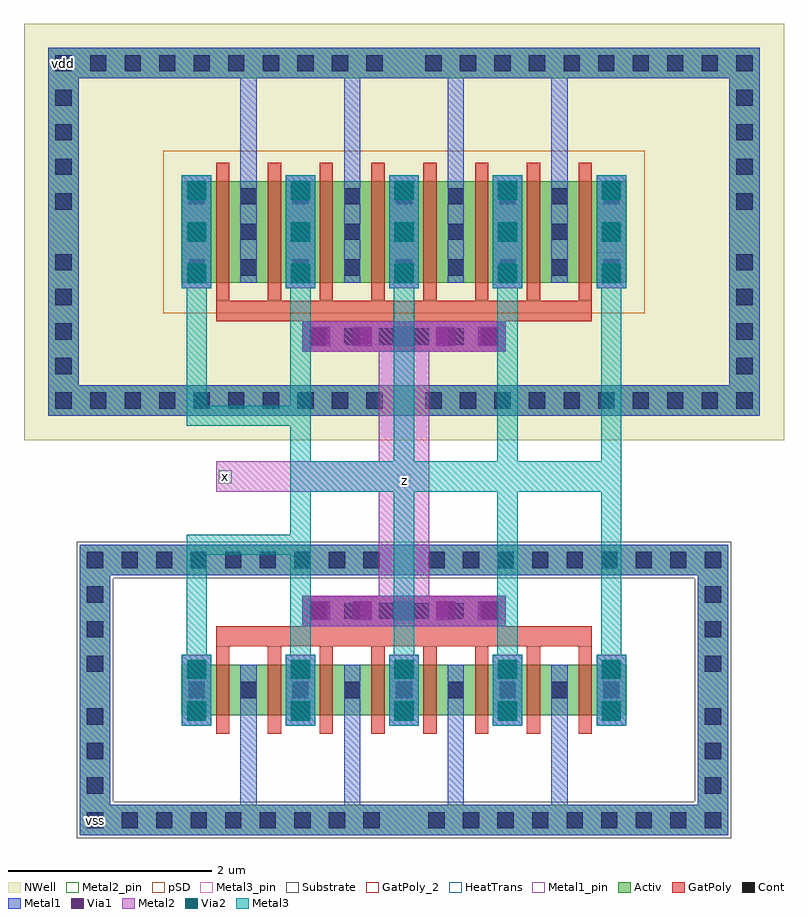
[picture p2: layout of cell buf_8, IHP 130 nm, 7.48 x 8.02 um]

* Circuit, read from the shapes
.subckt buf_8 vdd vss x z
XM1 vss x z vss sg13_lv_nmos w=0.5u l=0.13u m=8
XM2 vdd x z vdd sg13_lv_pmos w=1u l=0.13u m=8
.ends

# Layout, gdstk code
import gdstk
lib = gdstk.Library(unit=1e-6, precision=1e-09)
def R(c, l, rs):  # rectangles x0, y0, x1, y1
    for r in rs: c.add(gdstk.rectangle(r[:2], r[2:], *l))
def A(c, l, x, y, w, h, nx, ny, dx, dy):  # array of equal rectangles
    R(c, l, [(x+i*dx, y+j*dy, x+i*dx+w, y+j*dy+h) for i in range(nx) for j in range(ny)])
def P(c, l, *ps):  # polygons
    for p in ps: c.add(gdstk.Polygon(p, *l))
Activ = (1, 0)
GatPoly = (5, 0)
GatPoly_2 = (5, 2)
Cont = (6, 0)
Metal1 = (8, 0)
Metal1_pin = (8, 2)
Metal2 = (10, 0)
Metal2_pin = (10, 2)
pSD = (14, 0)
Via1 = (19, 0)
Via2 = (29, 0)
Metal3 = (30, 0)
Metal3_pin = (30, 2)
NWell = (31, 0)
Substrate = (40, 0)
HeatTrans = (51, 0)

via_stack_1 = lib.new_cell('via_stack$1')
R(via_stack_1, Metal1, [(-0.145,-0.35,0.145,0.35)])
R(via_stack_1, Metal2, [(-0.145,-0.35,0.145,0.35)])
R(via_stack_1, Via1, [(-0.095,-0.3,0.095,-0.11), (-0.095,0.11,0.095,0.3)])
R(via_stack_1, Via2, [(-0.095,-0.3,0.095,-0.11), (-0.095,0.11,0.095,0.3)])
R(via_stack_1, Metal3, [(-0.145,-0.35,0.145,0.35)])

via_stack_2 = lib.new_cell('via_stack$2')
R(via_stack_2, Metal1, [(-0.145,-0.555,0.145,0.555)])
R(via_stack_2, Metal2, [(-0.145,-0.555,0.145,0.555)])
A(via_stack_2, Via1, -0.095, -0.505, 0.19, 0.19, 1, 3, 0, 0.41)
A(via_stack_2, Via2, -0.095, -0.505, 0.19, 0.19, 1, 3, 0, 0.41)
R(via_stack_2, Metal3, [(-0.145,-0.555,0.145,0.555)])

via_4 = lib.new_cell('Via$4')
R(via_4, Metal1, [(-1,-0.15,1,0.15)])
R(via_4, Metal2, [(-1,-0.15,1,0.15)])
A(via_4, Via1, -0.915, -0.095, 0.19, 0.19, 5, 1, 0.41, 0)

via_5 = lib.new_cell('Via$5')
R(via_5, GatPoly, [(-1,-0.15,1,0.15)])
A(via_5, Cont, -0.93, -0.08, 0.16, 0.16, 6, 1, 0.34, 0)
R(via_5, Metal1, [(-1,-0.15,1,0.15)])

nmos_3 = lib.new_cell('nmos$3')
A(nmos_3, Activ, 0, 0, 0.3, 0.3, 9, 1, 0.51, 0)
R(nmos_3, Activ, [(-1,-0.88,-0.7,1.38), (5.08,-0.88,5.38,1.38), (0,0,4.38,0.5), (-1,1.38,5.38,1.68)])
P(nmos_3, Activ, [(-1,-1.18),(-1,1.38),(-0.7,1.38),(-0.7,-0.88),(5.08,-0.88),(5.08,1.38),(-1,1.38),(-1,1.68),(5.38,1.68),(5.38,-1.18)])
A(nmos_3, GatPoly, 0.34, -0.18, 0.13, 0.86, 8, 1, 0.51, 0)
R(nmos_3, GatPoly_2, [(0.34,-0.18,0.47,0.68)])
A(nmos_3, Cont, -0.93, -1.11, 0.16, 0.16, 9, 2, 0.34, 2.56)
A(nmos_3, Cont, 2.43, -1.11, 0.16, 0.16, 9, 2, 0.34, 2.56)
A(nmos_3, Cont, -0.93, -0.77, 0.16, 0.16, 1, 3, 0, 0.34)
A(nmos_3, Cont, 5.15, -0.77, 0.16, 0.16, 1, 3, 0, 0.34)
A(nmos_3, Cont, 0.07, 0.17, 0.16, 0.16, 9, 1, 0.51, 0)
A(nmos_3, Cont, -0.93, 0.43, 0.16, 0.16, 1, 3, 0, 0.34)
A(nmos_3, Cont, 5.15, 0.43, 0.16, 0.16, 1, 3, 0, 0.34)
A(nmos_3, Metal1, 0.07, 0, 0.16, 0.5, 9, 1, 0.51, 0)
R(nmos_3, Metal1, [(-1,-1.18,5.38,-0.88), (-1,-0.88,-0.7,1.38), (5.08,-0.88,5.38,1.38), (-1,1.38,5.38,1.68)])
R(nmos_3, Metal1_pin, [(0.07,0,0.23,0.5), (0.58,0,0.74,0.5)])
R(nmos_3, pSD, [(-1.03,-0.85,-0.67,1.35), (5.05,-0.85,5.41,1.35), (-1.03,1.35,5.41,1.71)])
P(nmos_3, pSD, [(-1.03,-1.21),(-1.03,1.35),(-0.67,1.35),(-0.67,-0.85),(5.05,-0.85),(5.05,1.35),(-1.03,1.35),(-1.03,1.71),(5.41,1.71),(5.41,-1.21)])
R(nmos_3, Substrate, [(-1.03,-0.85,-0.67,1.35), (5.05,-0.85,5.41,1.35), (-1.03,1.35,5.41,1.71)])
P(nmos_3, Substrate, [(-1.03,-1.21),(-1.03,1.35),(-0.67,1.35),(-0.67,-0.85),(5.05,-0.85),(5.05,1.35),(-1.03,1.35),(-1.03,1.71),(5.41,1.71),(5.41,-1.21)])
A(nmos_3, HeatTrans, 0.34, -0.18, 0.13, 0.86, 8, 1, 0.51, 0)
nmos_3.add(gdstk.Label('nmos', (0.405,0.25), layer=63, texttype=0))
nmos_3.add(gdstk.Label('sub!', (2.19,-1.03), layer=63, texttype=0))
nmos_3.add(gdstk.Label('nmos', (0.405,0.25), layer=51, texttype=0))
nmos_3.add(gdstk.Label('nmos', (0.915,0.25), layer=51, texttype=0))
nmos_3.add(gdstk.Label('nmos', (1.425,0.25), layer=51, texttype=0))
nmos_3.add(gdstk.Label('nmos', (1.935,0.25), layer=51, texttype=0))
nmos_3.add(gdstk.Label('nmos', (2.445,0.25), layer=51, texttype=0))
nmos_3.add(gdstk.Label('nmos', (2.955,0.25), layer=51, texttype=0))
nmos_3.add(gdstk.Label('nmos', (3.465,0.25), layer=51, texttype=0))
nmos_3.add(gdstk.Label('nmos', (3.975,0.25), layer=51, texttype=0))

pmos_3 = lib.new_cell('pmos$3')
A(pmos_3, Activ, 0, 0, 0.3, 0.3, 9, 1, 0.51, 0)
R(pmos_3, Activ, [(-1.31,-1.01,-1.01,2.01), (5.39,-1.01,5.69,2.01), (0,0,4.38,1), (-1.31,2.01,5.69,2.31)])
P(pmos_3, Activ, [(-1.31,-1.31),(-1.31,2.01),(-1.01,2.01),(-1.01,-1.01),(5.39,-1.01),(5.39,2.01),(-1.31,2.01),(-1.31,2.31),(5.69,2.31),(5.69,-1.31)])
A(pmos_3, GatPoly, 0.34, -0.18, 0.13, 1.36, 8, 1, 0.51, 0)
R(pmos_3, GatPoly, [(0.34,-0.18,0.47,1.18)])
A(pmos_3, Cont, -1.24, -1.24, 0.16, 0.16, 10, 2, 0.34, 3.32)
A(pmos_3, Cont, 2.4, -1.24, 0.16, 0.16, 10, 2, 0.34, 3.32)
A(pmos_3, Cont, -1.24, -0.9, 0.16, 0.16, 1, 4, 0, 0.34)
A(pmos_3, Cont, 5.46, -0.9, 0.16, 0.16, 1, 4, 0, 0.34)
A(pmos_3, Cont, 0.07, 0.07, 0.16, 0.16, 9, 3, 0.51, 0.35)
A(pmos_3, Cont, -1.24, 0.72, 0.16, 0.16, 1, 4, 0, 0.34)
A(pmos_3, Cont, 5.46, 0.72, 0.16, 0.16, 1, 4, 0, 0.34)
A(pmos_3, Metal1, 0.58, 0, 0.16, 1, 8, 1, 0.51, 0)
R(pmos_3, Metal1, [(-1.31,-1.31,5.69,-1.01), (-1.31,-1.01,-1.01,2.01), (5.39,-1.01,5.69,2.01), (0.07,0,0.23,1), (0.07,0,0.23,1), (0.58,0,0.74,1), (-1.31,2.01,5.69,2.31)])
R(pmos_3, pSD, [(-0.18,-0.3,4.56,1.3)])
R(pmos_3, NWell, [(-1.55,-1.55,5.93,2.55), (-0.31,-0.31,4.69,1.31)])
R(pmos_3, Substrate, [(4.08,0,4.38,0.3)])
A(pmos_3, HeatTrans, 0.34, -0.18, 0.13, 1.36, 8, 1, 0.51, 0)
pmos_3.add(gdstk.Label('pmos', (0.405,0.5), layer=63, texttype=0))
pmos_3.add(gdstk.Label('well', (2.19,-1.16), layer=63, texttype=0))
pmos_3.add(gdstk.Label('pmos', (0.405,0.5), layer=51, texttype=0))
pmos_3.add(gdstk.Label('pmos', (0.915,0.5), layer=51, texttype=0))
pmos_3.add(gdstk.Label('pmos', (1.425,0.5), layer=51, texttype=0))
pmos_3.add(gdstk.Label('pmos', (1.935,0.5), layer=51, texttype=0))
pmos_3.add(gdstk.Label('pmos', (2.445,0.5), layer=51, texttype=0))
pmos_3.add(gdstk.Label('pmos', (2.955,0.5), layer=51, texttype=0))
pmos_3.add(gdstk.Label('pmos', (3.465,0.5), layer=51, texttype=0))
pmos_3.add(gdstk.Label('pmos', (3.975,0.5), layer=51, texttype=0))

buf_8 = lib.new_cell('buf_8')
R(buf_8, Metal1_pin, [(0.635,0.115,0.765,0.245), (0.325,7.565,0.455,7.695)])
R(buf_8, Metal2_pin, [(1.915,3.495,2.045,3.625)])
R(buf_8, Metal3_pin, [(3.675,3.455,3.805,3.585)])
buf_8.add(gdstk.FlexPath([(1.89,3.56),(3.99,3.56)], 0.3, ends="flush", simple_path=True, layer=10, datatype=0))  # Metal2
buf_8.add(gdstk.FlexPath([(3.74,2.24),(3.74,4.94)], 0.5, ends="flush", simple_path=True, layer=10, datatype=0))  # Metal2
buf_8.add(gdstk.FlexPath([(1.7,5.47),(1.7,4.16),(2.8,4.16)], 0.2, ends="flush", simple_path=True, layer=30, datatype=0))  # Metal3
buf_8.add(gdstk.FlexPath([(2.72,5.47),(2.72,1.71)], 0.2, ends="flush", simple_path=True, layer=30, datatype=0))  # Metal3
buf_8.add(gdstk.FlexPath([(3.74,5.47),(3.74,1.71)], 0.2, ends="flush", simple_path=True, layer=30, datatype=0))  # Metal3
buf_8.add(gdstk.FlexPath([(4.76,5.47),(4.76,1.71)], 0.2, ends="flush", simple_path=True, layer=30, datatype=0))  # Metal3
buf_8.add(gdstk.FlexPath([(5.78,5.47),(5.78,1.71)], 0.2, ends="flush", simple_path=True, layer=30, datatype=0))  # Metal3
buf_8.add(gdstk.FlexPath([(1.7,1.71),(1.7,2.89),(2.8,2.89)], 0.2, ends="flush", simple_path=True, layer=30, datatype=0))  # Metal3
buf_8.add(gdstk.FlexPath([(5.88,3.56),(2.62,3.56)], 0.3, ends="flush", simple_path=True, layer=30, datatype=0))  # Metal3
buf_8.add(gdstk.FlexPath([(2.21,6.47),(2.21,7.78)], 0.16, ends="flush", simple_path=True, layer=8, datatype=0))  # Metal1
buf_8.add(gdstk.FlexPath([(3.23,6.47),(3.23,7.78)], 0.16, ends="flush", simple_path=True, layer=8, datatype=0))  # Metal1
buf_8.add(gdstk.FlexPath([(4.25,6.47),(4.25,7.78)], 0.16, ends="flush", simple_path=True, layer=8, datatype=0))  # Metal1
buf_8.add(gdstk.FlexPath([(5.27,6.47),(5.27,7.78)], 0.16, ends="flush", simple_path=True, layer=8, datatype=0))  # Metal1
buf_8.add(gdstk.FlexPath([(2.21,0.03),(2.21,1.21)], 0.16, ends="flush", simple_path=True, layer=8, datatype=0))  # Metal1
buf_8.add(gdstk.FlexPath([(3.23,0.03),(3.23,1.21)], 0.16, ends="flush", simple_path=True, layer=8, datatype=0))  # Metal1
buf_8.add(gdstk.FlexPath([(4.25,0.03),(4.25,1.21)], 0.16, ends="flush", simple_path=True, layer=8, datatype=0))  # Metal1
buf_8.add(gdstk.FlexPath([(5.27,0.03),(5.27,1.21)], 0.16, ends="flush", simple_path=True, layer=8, datatype=0))  # Metal1
buf_8.add(gdstk.FlexPath([(1.89,5.19),(5.59,5.19)], 0.2, ends="flush", simple_path=True, layer=5, datatype=0))  # GatPoly
buf_8.add(gdstk.FlexPath([(1.89,1.99),(5.59,1.99)], 0.2, ends="flush", simple_path=True, layer=5, datatype=0))  # GatPoly
buf_8.add(gdstk.Reference(via_stack_1, (1.7,1.46)))
buf_8.add(gdstk.Reference(via_stack_1, (2.72,1.46)))
buf_8.add(gdstk.Reference(via_stack_1, (3.74,1.46)))
buf_8.add(gdstk.Reference(via_stack_1, (4.76,1.46)))
buf_8.add(gdstk.Reference(via_stack_1, (5.78,1.46)))
buf_8.add(gdstk.Reference(via_stack_2, (1.7,5.97)))
buf_8.add(gdstk.Reference(via_stack_2, (2.72,5.97)))
buf_8.add(gdstk.Reference(via_stack_2, (3.74,5.97)))
buf_8.add(gdstk.Reference(via_stack_2, (4.76,5.97)))
buf_8.add(gdstk.Reference(via_stack_2, (5.78,5.97)))
buf_8.add(gdstk.Reference(via_4, (3.74,2.24)))
buf_8.add(gdstk.Reference(via_4, (3.74,4.94)))
buf_8.add(gdstk.Reference(via_5, (3.74,2.24)))
buf_8.add(gdstk.Reference(via_5, (3.74,4.94)))
buf_8.add(gdstk.Reference(nmos_3, (1.55,1.21)))
buf_8.add(gdstk.Reference(pmos_3, (1.55,5.47)))
buf_8.add(gdstk.Label('vdd', (0.39,7.63), layer=8, texttype=25))
buf_8.add(gdstk.Label('vss', (0.7,0.18), layer=8, texttype=25))
buf_8.add(gdstk.Label('x', (1.98,3.56), layer=10, texttype=25))
buf_8.add(gdstk.Label('z', (3.74,3.52), layer=30, texttype=25))

lib.write_gds('buf_8.gds')
